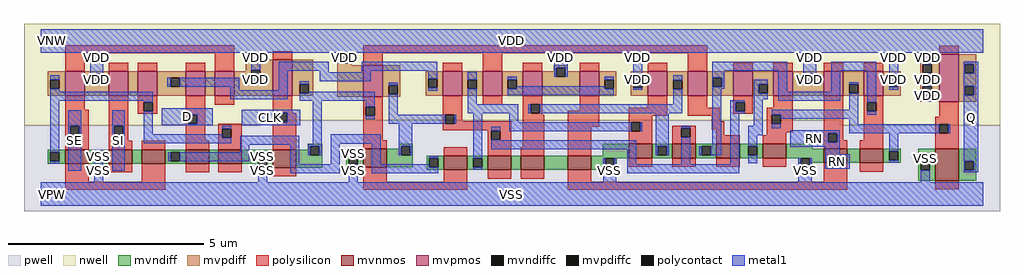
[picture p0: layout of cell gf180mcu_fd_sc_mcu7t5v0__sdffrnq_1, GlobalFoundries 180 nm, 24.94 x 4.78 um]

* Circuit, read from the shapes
.subckt gf180mcu_fd_sc_mcu7t5v0__sdffrnq_1 D RN SE SI CLK Q VDD VNW VPW VSS
XM1 VSS SE n1 VPW nfet_06v0 w=0.36u l=0.6u
XM2 n2 SI VSS VPW nfet_06v0 w=0.36u l=0.6u
XM3 n3 SE n2 VPW nfet_06v0 w=0.36u l=0.6u
XM4 n4 D n3 VPW nfet_06v0 w=0.36u l=0.6u
XM5 VSS n1 n4 VPW nfet_06v0 w=0.36u l=0.6u
XM6 n5 CLK VSS VPW nfet_06v0 w=0.465u l=0.6u
XM7 n6 n5 VSS VPW nfet_06v0 w=0.465u l=0.6u
XM8 n7 n5 n3 VPW nfet_06v0 w=0.36u l=0.6u
XM9 n8 n6 n7 VPW nfet_06v0 w=0.36u l=0.6u
XM10 n9 n10 n8 VPW nfet_06v0 w=0.36u l=0.6u
XM11 VSS RN n9 VPW nfet_06v0 w=0.36u l=0.6u
XM12 n10 n7 VSS VPW nfet_06v0 w=0.36u l=0.6u
XM13 n11 n6 n10 VPW nfet_06v0 w=0.36u l=0.6u
XM14 n12 n5 n11 VPW nfet_06v0 w=0.36u l=0.6u
XM15 VSS n13 n12 VPW nfet_06v0 w=0.36u l=0.6u
XM16 n14 RN VSS VPW nfet_06v0 w=0.36u l=0.6u
XM17 n13 n11 n14 VPW nfet_06v0 w=0.36u l=0.6u
XM18 Q n13 VSS VPW nfet_06v0 w=0.81u l=0.6u
XM19 VDD SE n1 VNW pfet_06v0 w=0.63u l=0.5u
XM20 n15 SI VDD VNW pfet_06v0 w=0.63u l=0.5u
XM21 n16 n1 n15 VNW pfet_06v0 w=0.63u l=0.5u
XM22 n17 D n16 VNW pfet_06v0 w=0.63u l=0.5u
XM23 VDD SE n17 VNW pfet_06v0 w=0.63u l=0.5u
XM24 n5 CLK VDD VNW pfet_06v0 w=0.925u l=0.5u
XM25 n6 n5 VDD VNW pfet_06v0 w=0.815u l=0.5u
XM26 n7 n6 n16 VNW pfet_06v0 w=0.63u l=0.5u
XM27 n18 n5 n7 VNW pfet_06v0 w=0.63u l=0.5u
XM28 VDD n10 n18 VNW pfet_06v0 w=0.63u l=0.5u
XM29 n18 RN VDD VNW pfet_06v0 w=0.63u l=0.5u
XM30 n10 n7 VDD VNW pfet_06v0 w=0.63u l=0.5u
XM31 n11 n5 n10 VNW pfet_06v0 w=0.63u l=0.5u
XM32 n12 n6 n11 VNW pfet_06v0 w=0.63u l=0.5u
XM33 VDD n13 n12 VNW pfet_06v0 w=0.63u l=0.5u
XM34 n13 RN VDD VNW pfet_06v0 w=0.63u l=0.5u
XM35 VDD n11 n13 VNW pfet_06v0 w=0.63u l=0.5u
XM36 Q n13 VDD VNW pfet_06v0 w=1.215u l=0.5u
.ends

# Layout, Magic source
magic
tech gf180mcuD
magscale 1 10
<< nwell >>
rect -86 377 4902 870
rect -86 352 1121 377
rect 4085 352 4902 377
<< pwell >>
rect 1121 352 4085 377
rect -86 -86 4902 352
<< mvnmos >>
rect 124 156 244 228
rect 348 156 468 228
rect 516 156 636 228
rect 740 156 860 228
rect 908 156 1028 228
rect 1185 135 1305 228
rect 1648 139 1768 232
rect 2060 124 2180 196
rect 2284 124 2404 196
rect 2452 124 2572 196
rect 2692 124 2812 196
rect 3004 185 3124 257
rect 3228 185 3348 257
rect 3452 185 3572 257
rect 3690 185 3810 257
rect 4002 160 4122 232
rect 4186 160 4306 232
rect 4572 70 4692 232
<< mvpmos >>
rect 124 502 224 628
rect 348 502 448 628
rect 496 502 596 628
rect 740 502 840 628
rect 888 502 988 628
rect 1185 502 1285 687
rect 1648 497 1748 660
rect 2054 502 2154 628
rect 2258 502 2358 628
rect 2462 502 2562 628
rect 2754 502 2854 628
rect 3102 502 3202 628
rect 3306 502 3406 628
rect 3539 502 3639 628
rect 3743 502 3843 628
rect 4002 502 4102 628
rect 4206 502 4306 628
rect 4592 472 4692 715
<< mvndiff >>
rect 1365 244 1437 257
rect 1365 228 1378 244
rect 36 215 124 228
rect 36 169 49 215
rect 95 169 124 215
rect 36 156 124 169
rect 244 215 348 228
rect 244 169 273 215
rect 319 169 348 215
rect 244 156 348 169
rect 468 156 516 228
rect 636 215 740 228
rect 636 169 665 215
rect 711 169 740 215
rect 636 156 740 169
rect 860 156 908 228
rect 1028 194 1185 228
rect 1028 156 1110 194
rect 1097 148 1110 156
rect 1156 148 1185 194
rect 1097 135 1185 148
rect 1305 198 1378 228
rect 1424 198 1437 244
rect 1828 244 1900 257
rect 1828 232 1841 244
rect 1305 135 1437 198
rect 1560 198 1648 232
rect 1560 152 1573 198
rect 1619 152 1648 198
rect 1560 139 1648 152
rect 1768 198 1841 232
rect 1887 198 1900 244
rect 1768 139 1900 198
rect 2872 196 3004 257
rect 1972 183 2060 196
rect 1972 137 1985 183
rect 2031 137 2060 183
rect 1972 124 2060 137
rect 2180 183 2284 196
rect 2180 137 2209 183
rect 2255 137 2284 183
rect 2180 124 2284 137
rect 2404 124 2452 196
rect 2572 124 2692 196
rect 2812 185 3004 196
rect 3124 244 3228 257
rect 3124 198 3153 244
rect 3199 198 3228 244
rect 3124 185 3228 198
rect 3348 244 3452 257
rect 3348 198 3377 244
rect 3423 198 3452 244
rect 3348 185 3452 198
rect 3572 244 3690 257
rect 3572 198 3615 244
rect 3661 198 3690 244
rect 3572 185 3690 198
rect 3810 232 3942 257
rect 3810 185 4002 232
rect 2812 183 2944 185
rect 2812 137 2885 183
rect 2931 137 2944 183
rect 3870 183 4002 185
rect 2812 124 2944 137
rect 3870 137 3883 183
rect 3929 160 4002 183
rect 4122 160 4186 232
rect 4306 219 4394 232
rect 4306 173 4335 219
rect 4381 173 4394 219
rect 4306 160 4394 173
rect 4484 168 4572 232
rect 3929 137 3942 160
rect 3870 124 3942 137
rect 4484 122 4497 168
rect 4543 122 4572 168
rect 4484 70 4572 122
rect 4692 168 4780 232
rect 4692 122 4721 168
rect 4767 122 4780 168
rect 4692 70 4780 122
<< mvpdiff >>
rect 1516 716 1588 729
rect 1048 634 1185 687
rect 1048 628 1075 634
rect 36 585 124 628
rect 36 539 49 585
rect 95 539 124 585
rect 36 502 124 539
rect 224 615 348 628
rect 224 569 263 615
rect 309 569 348 615
rect 224 502 348 569
rect 448 502 496 628
rect 596 595 740 628
rect 596 549 665 595
rect 711 549 740 595
rect 596 502 740 549
rect 840 502 888 628
rect 988 588 1075 628
rect 1121 588 1185 634
rect 988 502 1185 588
rect 1285 561 1393 687
rect 1285 515 1322 561
rect 1368 515 1393 561
rect 1285 502 1393 515
rect 1516 670 1529 716
rect 1575 670 1588 716
rect 1516 660 1588 670
rect 1516 497 1648 660
rect 1748 558 1836 660
rect 2622 647 2694 660
rect 2622 628 2635 647
rect 1748 512 1777 558
rect 1823 512 1836 558
rect 1748 497 1836 512
rect 1966 589 2054 628
rect 1966 543 1979 589
rect 2025 543 2054 589
rect 1966 502 2054 543
rect 2154 585 2258 628
rect 2154 539 2183 585
rect 2229 539 2258 585
rect 2154 502 2258 539
rect 2358 584 2462 628
rect 2358 538 2387 584
rect 2433 538 2462 584
rect 2358 502 2462 538
rect 2562 601 2635 628
rect 2681 628 2694 647
rect 4494 665 4592 715
rect 2681 601 2754 628
rect 2562 502 2754 601
rect 2854 584 2942 628
rect 2854 538 2883 584
rect 2929 538 2942 584
rect 2854 502 2942 538
rect 3014 590 3102 628
rect 3014 544 3027 590
rect 3073 544 3102 590
rect 3014 502 3102 544
rect 3202 582 3306 628
rect 3202 536 3231 582
rect 3277 536 3306 582
rect 3202 502 3306 536
rect 3406 595 3539 628
rect 3406 549 3435 595
rect 3481 549 3539 595
rect 3406 502 3539 549
rect 3639 561 3743 628
rect 3639 515 3668 561
rect 3714 515 3743 561
rect 3639 502 3743 515
rect 3843 615 4002 628
rect 3843 569 3907 615
rect 3953 569 4002 615
rect 3843 502 4002 569
rect 4102 561 4206 628
rect 4102 515 4131 561
rect 4177 515 4206 561
rect 4102 502 4206 515
rect 4306 596 4394 628
rect 4306 550 4335 596
rect 4381 550 4394 596
rect 4306 502 4394 550
rect 4494 619 4507 665
rect 4553 619 4592 665
rect 4494 551 4592 619
rect 4494 505 4507 551
rect 4553 505 4592 551
rect 4494 472 4592 505
rect 4692 665 4780 715
rect 4692 619 4721 665
rect 4767 619 4780 665
rect 4692 551 4780 619
rect 4692 505 4721 551
rect 4767 505 4780 551
rect 4692 472 4780 505
<< mvndiffc >>
rect 49 169 95 215
rect 273 169 319 215
rect 665 169 711 215
rect 1110 148 1156 194
rect 1378 198 1424 244
rect 1573 152 1619 198
rect 1841 198 1887 244
rect 1985 137 2031 183
rect 2209 137 2255 183
rect 3153 198 3199 244
rect 3377 198 3423 244
rect 3615 198 3661 244
rect 2885 137 2931 183
rect 3883 137 3929 183
rect 4335 173 4381 219
rect 4497 122 4543 168
rect 4721 122 4767 168
<< mvpdiffc >>
rect 49 539 95 585
rect 263 569 309 615
rect 665 549 711 595
rect 1075 588 1121 634
rect 1322 515 1368 561
rect 1529 670 1575 716
rect 1777 512 1823 558
rect 1979 543 2025 589
rect 2183 539 2229 585
rect 2387 538 2433 584
rect 2635 601 2681 647
rect 2883 538 2929 584
rect 3027 544 3073 590
rect 3231 536 3277 582
rect 3435 549 3481 595
rect 3668 515 3714 561
rect 3907 569 3953 615
rect 4131 515 4177 561
rect 4335 550 4381 596
rect 4507 619 4553 665
rect 4507 505 4553 551
rect 4721 619 4767 665
rect 4721 505 4767 551
<< polysilicon >>
rect 124 720 988 760
rect 124 628 224 720
rect 348 628 448 672
rect 496 628 596 672
rect 740 628 840 672
rect 888 628 988 720
rect 1185 687 1285 731
rect 1648 720 3406 760
rect 1648 660 1748 720
rect 124 432 224 502
rect 124 351 244 432
rect 124 305 150 351
rect 196 305 244 351
rect 124 228 244 305
rect 348 351 448 502
rect 496 469 596 502
rect 496 423 525 469
rect 571 423 596 469
rect 496 410 596 423
rect 348 305 374 351
rect 420 305 448 351
rect 348 272 448 305
rect 740 407 840 502
rect 888 458 988 502
rect 740 361 753 407
rect 799 361 840 407
rect 1185 415 1285 502
rect 2054 628 2154 672
rect 2258 628 2358 720
rect 2462 628 2562 672
rect 2754 628 2854 672
rect 3102 628 3202 672
rect 3306 628 3406 720
rect 4592 715 4692 759
rect 3539 628 3639 673
rect 3743 628 3843 673
rect 4002 628 4102 673
rect 4206 628 4306 673
rect 1185 369 1213 415
rect 1259 413 1285 415
rect 1648 448 1748 497
rect 1259 369 1305 413
rect 740 272 840 361
rect 908 335 1028 361
rect 908 289 926 335
rect 972 289 1028 335
rect 348 228 468 272
rect 516 228 636 272
rect 740 228 860 272
rect 908 228 1028 289
rect 1185 228 1305 369
rect 1648 402 1661 448
rect 1707 402 1748 448
rect 1648 277 1748 402
rect 2054 407 2154 502
rect 2258 458 2358 502
rect 2462 460 2562 502
rect 2054 361 2067 407
rect 2113 372 2154 407
rect 2462 414 2503 460
rect 2549 414 2562 460
rect 2754 427 2854 502
rect 3102 442 3202 502
rect 2462 406 2562 414
rect 2113 361 2404 372
rect 2054 326 2404 361
rect 2284 325 2404 326
rect 2284 279 2301 325
rect 2347 279 2404 325
rect 124 64 244 156
rect 348 112 468 156
rect 516 64 636 156
rect 740 112 860 156
rect 908 112 1028 156
rect 1648 232 1768 277
rect 2060 196 2180 240
rect 2284 196 2404 279
rect 2462 240 2572 406
rect 2452 196 2572 240
rect 2692 346 2854 427
rect 3004 402 3202 442
rect 3306 442 3406 502
rect 3539 469 3639 502
rect 3306 402 3469 442
rect 3539 423 3552 469
rect 3598 423 3639 469
rect 3743 442 3843 502
rect 3539 410 3639 423
rect 3004 368 3124 402
rect 2692 196 2812 346
rect 3004 322 3017 368
rect 3063 322 3124 368
rect 3429 372 3469 402
rect 3710 407 3843 442
rect 3004 257 3124 322
rect 3228 336 3348 349
rect 3228 290 3274 336
rect 3320 290 3348 336
rect 3429 332 3492 372
rect 3228 257 3348 290
rect 3452 301 3492 332
rect 3710 361 3736 407
rect 3782 361 3843 407
rect 3710 317 3843 361
rect 3710 301 3810 317
rect 3452 257 3572 301
rect 3690 257 3810 301
rect 4002 311 4102 502
rect 4002 265 4023 311
rect 4069 276 4102 311
rect 4206 469 4306 502
rect 4206 423 4223 469
rect 4269 423 4306 469
rect 4206 276 4306 423
rect 4592 395 4692 472
rect 4069 265 4122 276
rect 1185 91 1305 135
rect 124 24 636 64
rect 1648 64 1768 139
rect 4002 232 4122 265
rect 4186 232 4306 276
rect 4572 358 4692 395
rect 4572 312 4591 358
rect 4637 312 4692 358
rect 4572 232 4692 312
rect 3004 141 3124 185
rect 3228 141 3348 185
rect 3452 141 3572 185
rect 3690 141 3810 185
rect 2060 64 2180 124
rect 2284 80 2404 124
rect 2452 80 2572 124
rect 1648 24 2180 64
rect 2692 64 2812 124
rect 4002 64 4122 160
rect 4186 116 4306 160
rect 2692 24 4122 64
rect 4572 26 4692 70
<< polycontact >>
rect 150 305 196 351
rect 525 423 571 469
rect 374 305 420 351
rect 753 361 799 407
rect 1213 369 1259 415
rect 926 289 972 335
rect 1661 402 1707 448
rect 2067 361 2113 407
rect 2503 414 2549 460
rect 2301 279 2347 325
rect 3552 423 3598 469
rect 3017 322 3063 368
rect 3274 290 3320 336
rect 3736 361 3782 407
rect 4023 265 4069 311
rect 4223 423 4269 469
rect 4591 312 4637 358
<< metal1 >>
rect 0 724 4816 844
rect 252 615 320 724
rect 49 585 95 608
rect 252 569 263 615
rect 309 569 320 615
rect 1075 634 1121 724
rect 1518 716 1586 724
rect 646 549 665 595
rect 711 549 1015 595
rect 1075 577 1121 588
rect 1217 632 1472 678
rect 1518 670 1529 716
rect 1575 670 1586 716
rect 49 523 95 539
rect 969 531 1015 549
rect 1217 531 1263 632
rect 1426 624 1472 632
rect 1641 632 2025 678
rect 1641 624 1687 632
rect 1426 578 1687 624
rect 1979 589 2025 632
rect 2624 647 2692 724
rect 49 477 571 523
rect 969 484 1263 531
rect 1322 561 1368 578
rect 1777 558 1823 569
rect 1368 515 1707 524
rect 1322 477 1707 515
rect 49 215 95 477
rect 525 469 571 477
rect 49 156 95 169
rect 141 351 206 430
rect 141 305 150 351
rect 196 305 206 351
rect 141 119 206 305
rect 365 351 430 430
rect 365 305 374 351
rect 420 305 430 351
rect 273 215 319 228
rect 273 60 319 169
rect 365 119 430 305
rect 525 307 571 423
rect 619 407 878 438
rect 619 361 753 407
rect 799 361 878 407
rect 619 353 878 361
rect 1026 415 1326 431
rect 1026 369 1213 415
rect 1259 369 1326 415
rect 1026 353 1326 369
rect 926 335 972 350
rect 525 289 926 307
rect 525 261 972 289
rect 1018 252 1321 298
rect 1389 255 1435 477
rect 1661 448 1707 477
rect 1661 382 1707 402
rect 1979 529 2025 543
rect 2183 585 2229 625
rect 2624 601 2635 647
rect 2681 601 2692 647
rect 1777 407 1823 512
rect 2183 459 2229 539
rect 2387 584 2433 601
rect 2624 600 2692 601
rect 2883 584 2929 601
rect 2433 538 2883 552
rect 2387 506 2929 538
rect 3027 590 3073 724
rect 3431 632 3815 678
rect 3027 533 3073 544
rect 3231 582 3277 607
rect 3231 460 3277 536
rect 2183 413 2439 459
rect 2492 414 2503 460
rect 2549 414 3277 460
rect 3431 595 3492 632
rect 3431 549 3435 595
rect 3481 549 3492 595
rect 3431 538 3492 549
rect 3644 561 3714 586
rect 1777 361 2067 407
rect 2113 361 2124 407
rect 1777 360 2124 361
rect 1018 215 1064 252
rect 650 169 665 215
rect 711 169 1064 215
rect 1110 194 1156 205
rect 1110 60 1156 148
rect 1275 152 1321 252
rect 1367 244 1435 255
rect 1367 198 1378 244
rect 1424 198 1435 244
rect 1481 259 1736 306
rect 1481 152 1527 259
rect 1275 106 1527 152
rect 1573 198 1619 209
rect 1573 60 1619 152
rect 1690 152 1736 259
rect 1830 244 1898 360
rect 1830 198 1841 244
rect 1887 198 1898 244
rect 1985 183 2031 194
rect 1690 137 1985 152
rect 1690 106 2031 137
rect 2209 183 2255 413
rect 2393 368 2439 413
rect 2301 325 2347 344
rect 2393 322 3017 368
rect 3063 322 3074 368
rect 2301 275 2347 279
rect 2301 229 3042 275
rect 2209 126 2255 137
rect 2874 137 2885 183
rect 2931 137 2942 183
rect 2874 60 2942 137
rect 2996 152 3042 229
rect 3142 244 3210 414
rect 3142 198 3153 244
rect 3199 198 3210 244
rect 3274 336 3320 347
rect 3274 152 3320 290
rect 3431 244 3477 538
rect 3644 515 3668 561
rect 3644 484 3714 515
rect 3769 523 3815 632
rect 3896 615 3964 724
rect 3896 569 3907 615
rect 3953 569 3964 615
rect 4039 631 4269 678
rect 4039 523 4085 631
rect 3366 198 3377 244
rect 3423 198 3477 244
rect 3523 469 3598 480
rect 3523 423 3552 469
rect 3523 412 3598 423
rect 3523 152 3569 412
rect 3644 349 3690 484
rect 3769 477 4085 523
rect 4131 561 4177 572
rect 4131 431 4177 515
rect 3615 302 3690 349
rect 3736 407 4177 431
rect 3782 385 4177 407
rect 4223 469 4269 631
rect 4335 596 4381 724
rect 4335 535 4381 550
rect 4507 665 4553 724
rect 4507 551 4553 619
rect 4507 472 4553 505
rect 4718 665 4790 676
rect 4718 619 4721 665
rect 4767 619 4790 665
rect 4718 551 4790 619
rect 4718 505 4721 551
rect 4767 505 4790 551
rect 4223 406 4269 423
rect 3736 336 3782 361
rect 4131 358 4177 385
rect 3831 311 4082 327
rect 4131 312 4591 358
rect 4637 312 4648 358
rect 3615 244 3661 302
rect 3831 265 4023 311
rect 4069 265 4082 311
rect 3831 242 4082 265
rect 3615 158 3661 198
rect 4008 204 4082 242
rect 4335 219 4381 312
rect 2996 106 3569 152
rect 3872 137 3883 183
rect 3929 137 3940 183
rect 3872 60 3940 137
rect 4008 129 4134 204
rect 4335 162 4381 173
rect 4497 168 4543 185
rect 4497 60 4543 122
rect 4718 168 4790 505
rect 4718 122 4721 168
rect 4767 122 4790 168
rect 4718 111 4790 122
rect 0 -60 4816 60
<< labels >>
flabel metal1 s 4718 111 4790 676 0 FreeSans 400 0 0 0 Q
port 6 nsew default output
flabel metal1 s 3831 242 4082 327 0 FreeSans 400 0 0 0 RN
port 2 nsew default input
flabel metal1 s 141 119 206 430 0 FreeSans 400 0 0 0 SE
port 3 nsew default input
flabel metal1 s 365 119 430 430 0 FreeSans 400 0 0 0 SI
port 4 nsew default input
flabel metal1 s 0 724 4816 844 0 FreeSans 400 0 0 0 VDD
port 7 nsew power bidirectional abutment
flabel metal1 s 273 209 319 228 0 FreeSans 400 0 0 0 VSS
port 10 nsew ground bidirectional abutment
flabel metal1 s 1026 353 1326 431 0 FreeSans 400 0 0 0 CLK
port 5 nsew clock input
flabel metal1 s 619 353 878 438 0 FreeSans 400 0 0 0 D
port 1 nsew default input
flabel nwell s 10 734 110 834 0 FreeSans 400 0 0 0 VNW
port 8 nsew power bidirectional
flabel pwell s 10 -50 110 50 0 FreeSans 400 0 0 0 VPW
port 9 nsew ground bidirectional
rlabel metal1 s 4008 204 4082 242 1 RN
port 2 nsew default input
rlabel metal1 s 4008 129 4134 204 1 RN
port 2 nsew default input
rlabel metal1 s 4507 670 4553 724 1 VDD
port 7 nsew power bidirectional abutment
rlabel metal1 s 4335 670 4381 724 1 VDD
port 7 nsew power bidirectional abutment
rlabel metal1 s 3896 670 3964 724 1 VDD
port 7 nsew power bidirectional abutment
rlabel metal1 s 3027 670 3073 724 1 VDD
port 7 nsew power bidirectional abutment
rlabel metal1 s 2624 670 2692 724 1 VDD
port 7 nsew power bidirectional abutment
rlabel metal1 s 1518 670 1586 724 1 VDD
port 7 nsew power bidirectional abutment
rlabel metal1 s 1075 670 1121 724 1 VDD
port 7 nsew power bidirectional abutment
rlabel metal1 s 252 670 320 724 1 VDD
port 7 nsew power bidirectional abutment
rlabel metal1 s 4507 600 4553 670 1 VDD
port 7 nsew power bidirectional abutment
rlabel metal1 s 4335 600 4381 670 1 VDD
port 7 nsew power bidirectional abutment
rlabel metal1 s 3896 600 3964 670 1 VDD
port 7 nsew power bidirectional abutment
rlabel metal1 s 3027 600 3073 670 1 VDD
port 7 nsew power bidirectional abutment
rlabel metal1 s 2624 600 2692 670 1 VDD
port 7 nsew power bidirectional abutment
rlabel metal1 s 1075 600 1121 670 1 VDD
port 7 nsew power bidirectional abutment
rlabel metal1 s 252 600 320 670 1 VDD
port 7 nsew power bidirectional abutment
rlabel metal1 s 4507 577 4553 600 1 VDD
port 7 nsew power bidirectional abutment
rlabel metal1 s 4335 577 4381 600 1 VDD
port 7 nsew power bidirectional abutment
rlabel metal1 s 3896 577 3964 600 1 VDD
port 7 nsew power bidirectional abutment
rlabel metal1 s 3027 577 3073 600 1 VDD
port 7 nsew power bidirectional abutment
rlabel metal1 s 1075 577 1121 600 1 VDD
port 7 nsew power bidirectional abutment
rlabel metal1 s 252 577 320 600 1 VDD
port 7 nsew power bidirectional abutment
rlabel metal1 s 4507 569 4553 577 1 VDD
port 7 nsew power bidirectional abutment
rlabel metal1 s 4335 569 4381 577 1 VDD
port 7 nsew power bidirectional abutment
rlabel metal1 s 3896 569 3964 577 1 VDD
port 7 nsew power bidirectional abutment
rlabel metal1 s 3027 569 3073 577 1 VDD
port 7 nsew power bidirectional abutment
rlabel metal1 s 252 569 320 577 1 VDD
port 7 nsew power bidirectional abutment
rlabel metal1 s 4507 535 4553 569 1 VDD
port 7 nsew power bidirectional abutment
rlabel metal1 s 4335 535 4381 569 1 VDD
port 7 nsew power bidirectional abutment
rlabel metal1 s 3027 535 3073 569 1 VDD
port 7 nsew power bidirectional abutment
rlabel metal1 s 4507 533 4553 535 1 VDD
port 7 nsew power bidirectional abutment
rlabel metal1 s 3027 533 3073 535 1 VDD
port 7 nsew power bidirectional abutment
rlabel metal1 s 4507 472 4553 533 1 VDD
port 7 nsew power bidirectional abutment
rlabel metal1 s 1573 205 1619 209 1 VSS
port 10 nsew ground bidirectional abutment
rlabel metal1 s 273 205 319 209 1 VSS
port 10 nsew ground bidirectional abutment
rlabel metal1 s 1573 185 1619 205 1 VSS
port 10 nsew ground bidirectional abutment
rlabel metal1 s 1110 185 1156 205 1 VSS
port 10 nsew ground bidirectional abutment
rlabel metal1 s 273 185 319 205 1 VSS
port 10 nsew ground bidirectional abutment
rlabel metal1 s 4497 183 4543 185 1 VSS
port 10 nsew ground bidirectional abutment
rlabel metal1 s 1573 183 1619 185 1 VSS
port 10 nsew ground bidirectional abutment
rlabel metal1 s 1110 183 1156 185 1 VSS
port 10 nsew ground bidirectional abutment
rlabel metal1 s 273 183 319 185 1 VSS
port 10 nsew ground bidirectional abutment
rlabel metal1 s 4497 60 4543 183 1 VSS
port 10 nsew ground bidirectional abutment
rlabel metal1 s 3872 60 3940 183 1 VSS
port 10 nsew ground bidirectional abutment
rlabel metal1 s 2874 60 2942 183 1 VSS
port 10 nsew ground bidirectional abutment
rlabel metal1 s 1573 60 1619 183 1 VSS
port 10 nsew ground bidirectional abutment
rlabel metal1 s 1110 60 1156 183 1 VSS
port 10 nsew ground bidirectional abutment
rlabel metal1 s 273 60 319 183 1 VSS
port 10 nsew ground bidirectional abutment
rlabel metal1 s 0 -60 4816 60 1 VSS
port 10 nsew ground bidirectional abutment
<< properties >>
string FIXED_BBOX 0 0 4816 784
string GDS_END 221794
string GDS_FILE $PDKPATH/libs.ref/gf180mcu_fd_sc_mcu7t5v0/gds/gf180mcu_fd_sc_mcu7t5v0.gds
string GDS_START 211444
string LEFclass core
string LEFsite GF018hv5v_mcu_sc7
string LEFsymmetry X Y
string MASKHINTS_DUALGATE -56 676 44 840 1068 811 1568 840 1365 777 1568 811 3486 839 4872 840 1365 735 1468 777 3486 763 4512 839 4772 763 4872 839 3486 753 4446 763 -56 454 -12 676 -56 276 44 454 1884 449 1974 454 1385 305 1568 449 1828 357 1974 449 4828 424 4872 763 1848 305 1974 357 4386 280 4492 424 4772 280 4872 424 -56 108 -12 276 -56 -56 44 108 716 11 1105 32 1385 11 1568 87 716 -56 1568 11 4202 22 4436 36 4828 22 4872 280 2260 -56 2612 0 4202 -54 4492 22 4772 -54 4872 22 4202 -56 4872 -54
string MASKHINTS_NPLUS 1121 352 4085 377 -40 303 4856 352 -40 289 2958 303 3856 289 4856 303 -40 274 1333 289 1469 278 1796 289 -40 260 78 274 1469 264 1602 278 -40 124 4 260 1932 242 2840 289 3974 278 4856 289 4352 264 4526 278 4738 264 4856 278 1932 228 2014 242 -40 110 78 124 -40 103 1065 110 1469 103 1602 107 -40 89 1139 103 1351 93 1602 103 1814 93 1940 107 1351 92 1940 93 2976 92 3838 139 4352 114 4452 128 3974 92 4452 114 1351 89 2014 92 -40 78 2014 89 2858 78 4452 92 -40 38 4452 78 4812 38 4856 264 -40 24 4526 38 4738 24 4856 38 -40 -40 4856 24
string MASKHINTS_PPLUS -40 761 4856 824 -40 733 1484 761 -40 719 1139 733 1331 719 1484 733 1620 747 4546 761 4738 747 4856 761 -40 674 1016 719 1620 706 4462 747 1794 692 4462 706 1868 674 2590 692 2726 674 4462 692 -40 660 78 674 1868 660 2008 674 2900 660 3056 674 4352 660 4462 674 -40 470 4 660 -40 456 78 470 1034 456 1139 470 1331 465 1484 470 1868 465 2008 470 1331 456 1602 465 -40 451 1602 456 1794 456 2008 465 2608 456 2708 470 2900 456 3056 470 4352 456 4462 470 1794 451 4462 456 -40 440 4462 451 4812 440 4856 747 -40 426 4546 440 4738 426 4856 440 -40 377 4856 426 -40 352 1121 377 4085 352 4856 377
<< end >>
